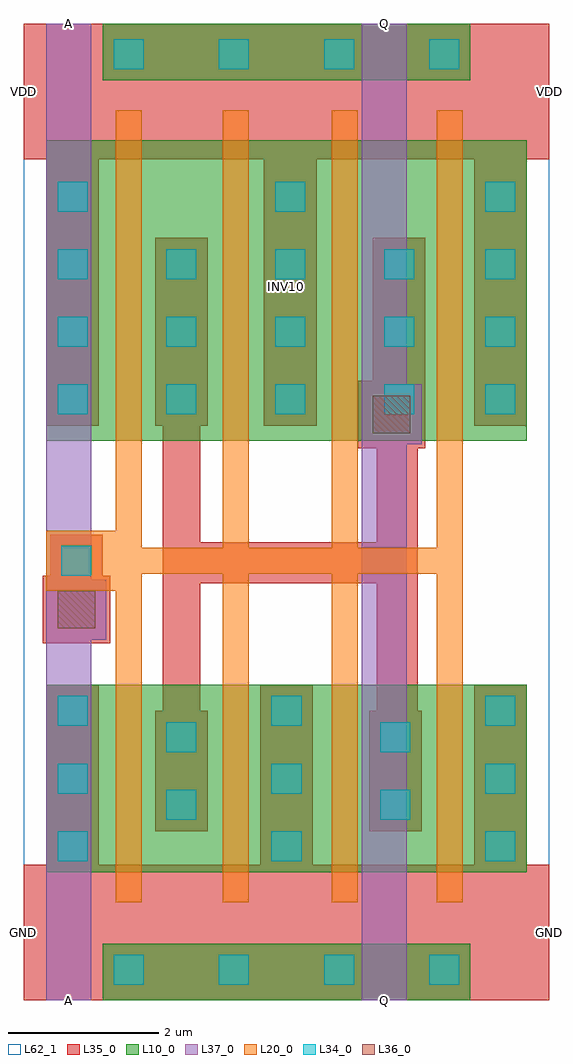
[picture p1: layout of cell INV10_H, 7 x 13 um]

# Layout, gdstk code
import gdstk
lib = gdstk.Library(unit=1e-6, precision=1e-09)
def R(c, l, rs):  # rectangles x0, y0, x1, y1
    for r in rs: c.add(gdstk.rectangle(r[:2], r[2:], *l))
def A(c, l, x, y, w, h, nx, ny, dx, dy):  # array of equal rectangles
    R(c, l, [(x+i*dx, y+j*dy, x+i*dx+w, y+j*dy+h) for i in range(nx) for j in range(ny)])
def P(c, l, *ps):  # polygons
    for p in ps: c.add(gdstk.Polygon(p, *l))
L10_0 = (10, 0)
L20_0 = (20, 0)
L34_0 = (34, 0)
L35_0 = (35, 0)
L36_0 = (36, 0)
L37_0 = (37, 0)
L62_1 = (62, 1)

inv10_h = lib.new_cell('INV10_H')
R(inv10_h, L10_0, [(1.05,0,5.95,0.75), (0.3,1.7,6.7,4.2), (0.3,7.45,6.7,11.45), (1.05,12.25,5.95,13)])
P(inv10_h, L20_0, [(5.85,11.85),(5.5,11.85),(5.5,6.025),(4.45,6.025),(4.45,11.85),(4.1,11.85),(4.1,6.025),(3,6.025),(3,11.85),(2.65,11.85),(2.65,6.025),(1.575,6.025),(1.575,11.85),(1.225,11.85),(1.225,6.25),(0.3,6.25),(0.3,5.45),(1.225,5.45),(1.225,1.3),(1.575,1.3),(1.575,5.675),(2.65,5.675),(2.65,1.3),(3,1.3),(3,5.675),(4.1,5.675),(4.1,1.3),(4.45,1.3),(4.45,5.675),(5.5,5.675),(5.5,1.3),(5.85,1.3)])
A(inv10_h, L34_0, 1.2, 0.2, 0.4, 0.4, 4, 2, 1.4, 12.2)
A(inv10_h, L34_0, 0.45, 1.85, 0.4, 0.4, 3, 3, 2.85, 0.9)
A(inv10_h, L34_0, 0.45, 7.8, 0.4, 0.4, 4, 3, 1.45, 0.9)
A(inv10_h, L34_0, 6.15, 7.8, 0.4, 0.4, 1, 4, 0, 0.9)
R(inv10_h, L34_0, [(1.9,2.4,2.3,2.8), (4.75,2.4,5.15,2.8), (1.9,3.3,2.3,3.7), (4.75,3.3,5.15,3.7), (0.5,5.65,0.9,6.05), (0.45,10.5,0.85,10.9), (3.35,10.5,3.75,10.9)])
R(inv10_h, L35_0, [(0.25,4.75,1.15,5.65), (4.45,7.35,5.35,8.25)])
P(inv10_h, L35_0, [(5.35,10.15),(4.65,10.15),(4.65,8.25),(4.45,8.25),(4.45,7.35),(4.7,7.35),(4.7,6.1),(2.35,6.1),(2.35,7.65),(2.45,7.65),(2.45,10.15),(1.75,10.15),(1.75,7.65),(1.85,7.65),(1.85,3.85),(1.75,3.85),(1.75,2.25),(2.45,2.25),(2.45,3.85),(2.35,3.85),(2.35,5.55),(4.7,5.55),(4.7,3.85),(4.6,3.85),(4.6,2.25),(5.3,2.25),(5.3,3.85),(5.25,3.85),(5.25,7.35),(5.35,7.35)],
  [(7,1.8),(6.7,1.8),(6.7,4.2),(6,4.2),(6,1.8),(3.85,1.8),(3.85,4.2),(3.15,4.2),(3.15,1.8),(1,1.8),(1,4.2),(0.3,4.2),(0.3,1.8),(0,1.8),(0,0),(7,0)],
  [(7,13),(0,13),(0,11.2),(0.3,11.2),(0.3,7.65),(1,7.65),(1,11.2),(3.2,11.2),(3.2,7.65),(3.9,7.65),(3.9,11.2),(6,11.2),(6,7.65),(6.7,7.65),(6.7,11.2),(7,11.2)],
  [(1.15,5.65),(1.05,5.65),(1.05,6.2),(0.35,6.2),(0.35,5.65),(0.25,5.65),(0.25,4.75),(1.15,4.75)])
R(inv10_h, L36_0, [(0.45,4.95,0.95,5.45), (4.65,7.55,5.15,8.05)])
R(inv10_h, L37_0, [(0.3,0,0.9,13), (4.5,0,5.1,13), (0.3,4.8,1.1,5.6), (4.5,7.4,5.3,8.2)])
R(inv10_h, L62_1, [(0,0,7,13)])
inv10_h.add(gdstk.Label('INV10', (3.5,9.5), layer=61, texttype=2))
inv10_h.add(gdstk.Label('A', (0.6,13), layer=37, texttype=0))
inv10_h.add(gdstk.Label('Q', (4.8,13), layer=37, texttype=0))
inv10_h.add(gdstk.Label('GND', (7,0.9), layer=35, texttype=0))
inv10_h.add(gdstk.Label('GND', (0,0.9), layer=35, texttype=0))
inv10_h.add(gdstk.Label('VDD', (7,12.1), layer=35, texttype=0))
inv10_h.add(gdstk.Label('VDD', (0,12.1), layer=35, texttype=0))
inv10_h.add(gdstk.Label('A', (0.6,0), layer=37, texttype=0))
inv10_h.add(gdstk.Label('Q', (4.8,0), layer=37, texttype=0))

lib.write_gds('INV10_H.gds')
